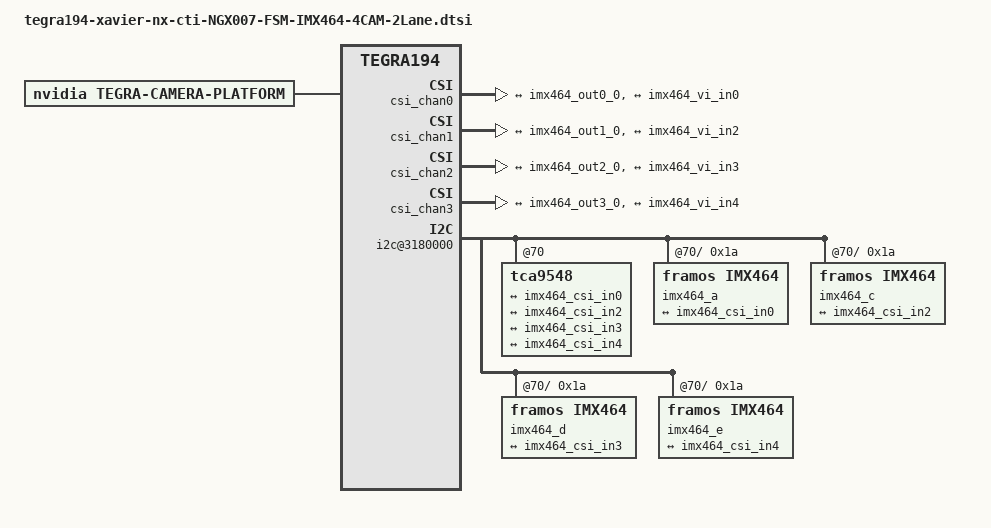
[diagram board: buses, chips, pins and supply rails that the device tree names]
/*
 * tegra194-camera-imx464.dtsi - imx464 sensor device tree
 *
 * Copyright (c) 2019. FRAMOS.  All rights reserved.
 *
 * This program is free software; you can redistribute it and/or modify it
 * under the terms and conditions of the GNU General Public License,
 * version 2, as published by the Free Software Foundation.
 *
 * This program is distributed in the hope it will be useful, but WITHOUT
 * ANY WARRANTY; without even the implied warranty of MERCHANTABILITY or
 * FITNESS FOR A PARTICULAR PURPOSE.  See the GNU General Public License for
 * more details.
 *
 * You should have received a copy of the GNU General Public License
 * along with this program.  If not, see <http://www.gnu.org/licenses/>.
 */

#include <dt-bindings/media/camera.h>

/ {
	host1x {
		vi@15c10000  {
			num-channels = <4>;
			framos_channel;
			ports {
				#address-cells = <1>;
				#size-cells = <0>;
				vi_port0: port@0 {
					reg = <0>;
                    status = "okay";
					imx464_vi_in0: endpoint {
						port-index = <0>;
						bus-width = <2>;
						remote-endpoint = <&imx464_csi_out0>;
                        status = "okay";
					};
				};
				vi_port1: port@1 {
					reg = <1>;
                    status = "okay";
                    imx464_vi_in2: endpoint {
						port-index = <2>;
						bus-width = <2>;
						remote-endpoint = <&imx464_csi_out2>;
                        status = "okay";
					};
				};
                 vi_port2: port@2 {
					reg = <2>;
                    status = "okay";
                    imx464_vi_in3: endpoint {
						port-index = <3>;
						bus-width = <2>;
						remote-endpoint = <&imx464_csi_out3>;
                        status = "okay";
					};
				};
				vi_port3: port@3 {
					reg = <3>;
                    status = "okay";
					imx464_vi_in4: endpoint {
						port-index = <4>;
						bus-width = <2>;
						remote-endpoint = <&imx464_csi_out4>;
                        status = "okay";
					};
				};
			};
		};

		nvcsi@15a00000 {
			num-channels = <4>;
			#address-cells = <1>;
			#size-cells = <0>;
			csi_chan0: channel@0 {
				reg = <0>;
                status = "okay";
				ports {
					#address-cells = <1>;
					#size-cells = <0>;
					csi_chan0_port0: port@0 {
						reg = <0>;
                        status = "okay";
						imx464_csi_in0: endpoint@0 {
							port-index = <0>;
							bus-width = <2>;
							remote-endpoint = <&imx464_out0_0>;
                            status = "okay";
						};
					};
					csi_chan0_port1: port@1 {
						reg = <1>;
                        status = "okay";
						imx464_csi_out0: endpoint@1 {
							remote-endpoint = <&imx464_vi_in0>;
                            status = "okay";
						};
					};
				};
			};
            csi_chan1: channel@1 {
				reg = <1>;
                status = "okay";
				ports {
					#address-cells = <1>;
					#size-cells = <0>;
                    csi_chan1_port0: port@2 {
						reg = <0>;
                        status = "okay";
						imx464_csi_in2: endpoint@2 {
							port-index = <2>;
							bus-width = <2>;
							remote-endpoint = <&imx464_out1_0>;
                            status = "okay";
						};
					};
					csi_chan1_port1: port@3 {
						reg = <1>;
                        status = "okay";
						imx464_csi_out2: endpoint@3 {
							remote-endpoint = <&imx464_vi_in2>;
                            status = "okay";
						};
					};
				};
			};
            csi_chan2: channel@2 {
				reg = <2>;
                status = "okay";
				ports {
					#address-cells = <1>;
					#size-cells = <0>;
                    csi_chan2_port0: port@4 {
						reg = <0>;
                        status = "okay";
						imx464_csi_in3: endpoint@4 {
							port-index = <3>;
							bus-width = <2>;
							remote-endpoint = <&imx464_out2_0>;
                            status = "okay";
						};
					};
					csi_chan2_port1: port@5 {
						reg = <1>;
                        status = "okay";
						imx464_csi_out3: endpoint@5 {
							remote-endpoint = <&imx464_vi_in3>;
                            status = "okay";
						};
					};
				};
			};
			csi_chan3: channel@3 {
				reg = <3>;
                status = "okay";
				ports {
					#address-cells = <1>;
					#size-cells = <0>;
					csi_chan3_port0: port@6 {
						reg = <0>;
                        status = "okay";
						imx464_csi_in4: endpoint@6 {
							port-index = <4>;
							bus-width = <2>;
							remote-endpoint = <&imx464_out3_0>;
                            status = "okay";
						};
					};
					csi_chan3_port1: port@7 {
						reg = <1>;
                        status = "okay";
						imx464_csi_out4: endpoint@7 {
							remote-endpoint = <&imx464_vi_in4>;
                            status = "okay";
						};
					};
				};
			};
		};
    };


    i2c@3180000 {
    	tca9548@70 {
		    i2c@0 {
			    imx464_a@1a {
				    compatible = "framos,imx464";
				    reg = <0x1a>;

				    devnode = "video0";

		            physical_w = "15.0";
		            physical_h = "12.5";

				    sensor_model ="imx464";

				    /* Define any required hw resources needed by driver */
			        /* ie. clocks, io pins, power sources */

			        /* Defines number of frames to be dropped by driver internally after applying */
			        /* sensor crop settings. Some sensors send corrupt frames after applying */
			        /* crop co-ordinates */
			        post_crop_frame_drop = "0";

	                /* Convert Gain to unit of dB (decibel) befor passing to kernel driver */
	                use_decibel_gain = "true";

	                /* if true, delay gain setting by one frame to be in sync with exposure */
	                delayed_gain = "false";

	                /* enable CID_SENSOR_MODE_ID for sensor modes selection */
	                use_sensor_mode_id = "false";

			        /**
			        * ==== Modes ====
			        * A modeX node is required to support v4l2 driver
			        * implementation with NVIDIA camera software stack
			        *
			        * == Signal properties ==
			        *
			        * phy_mode = "";
			        * PHY mode used by the MIPI lanes for this device
			        *
			        * tegra_sinterface = "";
			        * CSI Serial interface connected to tegra
			        * Incase of virtual HW devices, use virtual
			        * For SW emulated devices, use host
			        *
			        * pix_clk_hz = "";
			        * Sensor pixel clock used for calculations like exposure and framerate
			        *
			        * readout_orientation = "0";
			        * Based on camera module orientation.
			        * Only change readout_orientation if you specifically
			        * Program a different readout order for this mode
			        *
			        * == Image format Properties ==
			        *
			        * active_w = "";
			        * Pixel active region width
			        *
			        * active_h = "";
			        * Pixel active region height
			        *
			        * pixel_t = "";
			        * The sensor readout pixel pattern
			        *
			        * line_length = "";
			        * Pixel line length (width) for sensor mode.
			        *
			        * == Source Control Settings ==
			        *
			        * Gain factor used to convert fixed point integer to float
			        * Gain range [min_gain/gain_factor, max_gain/gain_factor]
			        * Gain step [step_gain/gain_factor is the smallest step that can be configured]
			        * Default gain [Default gain to be initialized for the control.
			        *     use min_gain_val as default for optimal results]
			        * Framerate factor used to convert fixed point integer to float
			        * Framerate range [min_framerate/framerate_factor, max_framerate/framerate_factor]
			        * Framerate step [step_framerate/framerate_factor is the smallest step that can be configured]
			        * Default Framerate [Default framerate to be initialized for the control.
			        *     use max_framerate to get required performance]
			        * Exposure factor used to convert fixed point integer to float
			        * For convenience use 1 sec = 1000000us as conversion factor
			        * Exposure range [min_exp_time/exposure_factor, max_exp_time/exposure_factor]
			        * Exposure step [step_exp_time/exposure_factor is the smallest step that can be configured]
			        * Default Exposure Time [Default exposure to be initialized for the control.
			        *     Set default exposure based on the default_framerate for optimal exposure settings]
			        *
			        * gain_factor = ""; (integer factor used for floating to fixed point conversion)
			        * min_gain_val = ""; (ceil to integer)
			        * max_gain_val = ""; (ceil to integer)
			        * step_gain_val = ""; (ceil to integer)
			        * default_gain = ""; (ceil to integer)
			        * Gain limits for mode
			        *
			        * exposure_factor = ""; (integer factor used for floating to fixed point conversion)
			        * min_exp_time = ""; (ceil to integer)
			        * max_exp_time = ""; (ceil to integer)
			        * step_exp_time = ""; (ceil to integer)
			        * default_exp_time = ""; (ceil to integer)
			        * Exposure Time limits for mode (sec)
			        *
			        * framerate_factor = ""; (integer factor used for floating to fixed point conversion)
			        * min_framerate = ""; (ceil to integer)
			        * max_framerate = ""; (ceil to integer)
			        * step_framerate = ""; (ceil to integer)
			        * default_framerate = ""; (ceil to integer)
			        * Framerate limits for mode (fps)
			        *
			        * embedded_metadata_height = "";
			        * Sensor embedded metadata height in units of rows.
			        * If sensor does not support embedded metadata value should be 0.
			        */

				    mode0 { //
						mclk_khz = "37125";
						num_lanes = "2";
						tegra_sinterface = "serial_a";
                        phy_mode = "DPHY";
						discontinuous_clk = "no";
                        dpcm_enable = "false";
						cil_settletime = "0";
						active_w = "2712";
						active_h = "1538";

						dynamic_pixel_bit_depth = "10";
						csi_pixel_bit_depth = "10";
						mode_type = "bayer";
						pixel_phase = "rggb";

						readout_orientation = "0";
						line_length = "2800"; // doesnt effect FPS
						inherent_gain = "1";
						mclk_multiplier = "40.40";
						pix_clk_hz = "1000000000"; // doesnt effect FPS

					    gain_factor = "10";
					    min_gain_val = "0"; /* 0dB */
					    max_gain_val = "720"; /* 72dB */
					    step_gain_val = "3"; /* 0.3 */
					    default_gain = "0";
						min_hdr_ratio = "1";
						max_hdr_ratio = "64";
					    framerate_factor = "1000000";
					    min_framerate = "1500000"; /* 1.5 */
					    max_framerate = "90000000"; /* 90 */
					    step_framerate = "1";
					    default_framerate= "90000000";
					    exposure_factor = "1000000";
					    min_exp_time = "6"; /* us */
					    max_exp_time = "660000"; /* us */ //set on max, ganges are dynamic
					    step_exp_time = "1";
					    default_exp_time = "10000";/* us */
					    embedded_metadata_height = "1";
					};
					mode1 { //
						mclk_khz = "37125";
						num_lanes = "2";
						tegra_sinterface = "serial_a";
                        phy_mode = "DPHY";
						discontinuous_clk = "no";
                        dpcm_enable = "false";
						cil_settletime = "0";
						active_w = "1920";
						active_h = "1080";

						dynamic_pixel_bit_depth = "10";
						csi_pixel_bit_depth = "10";
						mode_type = "bayer";
						pixel_phase = "rggb";

						readout_orientation = "0";
						line_length = "2800";
						inherent_gain = "1";
						mclk_multiplier = "40.40";
						pix_clk_hz = "1000000000";

					    gain_factor = "10";
					    min_gain_val = "0"; /* 0dB */
					    max_gain_val = "720"; /* 72dB */
					    step_gain_val = "3"; /* 0.3 */
					    default_gain = "0";
						min_hdr_ratio = "1";
						max_hdr_ratio = "64";
					    framerate_factor = "1000000";
					    min_framerate = "1500000"; /* 1.5 */
					    max_framerate = "124000000"; /* 124 */
					    step_framerate = "1";
					    default_framerate= "120000000";
					    exposure_factor = "1000000";
					    min_exp_time = "6"; /* us */
					    max_exp_time = "660000"; /* us */
					    step_exp_time = "1";
					    default_exp_time = "10000";/* us */
					    embedded_metadata_height = "1";
					};
					mode2 { //
						mclk_khz = "37125";
						num_lanes = "2";
						tegra_sinterface = "serial_a";
                        phy_mode = "DPHY";
						discontinuous_clk = "no";
                        dpcm_enable = "false";
						cil_settletime = "0";
						active_w = "2712";
						active_h = "1538";

						dynamic_pixel_bit_depth = "12";
						csi_pixel_bit_depth = "12";
						mode_type = "bayer";
						pixel_phase = "rggb";

						readout_orientation = "0";
						line_length = "2800";
						inherent_gain = "1";
						mclk_multiplier = "40.40";
						pix_clk_hz = "1000000000";

					    gain_factor = "10";
					    min_gain_val = "0"; /* 0dB */
					    max_gain_val = "720"; /* 72dB */
					    step_gain_val = "3"; /* 0.3 */
					    default_gain = "0";
						min_hdr_ratio = "1";
						max_hdr_ratio = "64";
					    framerate_factor = "1000000";
					    min_framerate = "1500000"; /* 1.5 */
					    max_framerate = "60000000"; /* 60 */
					    step_framerate = "1";
					    default_framerate = "60000000";
					    exposure_factor = "1000000";
					    min_exp_time = "10"; /* us */
					    max_exp_time = "660000"; /* us */
					    step_exp_time = "1";
					    default_exp_time = "10000";/* us */
					    embedded_metadata_height = "1";
					};
					mode3 { //
						mclk_khz = "37125";
						num_lanes = "2";
						tegra_sinterface = "serial_a";
                        phy_mode = "DPHY";
						discontinuous_clk = "no";
                        dpcm_enable = "false";
						cil_settletime = "0";
						active_w = "1920";
						active_h = "1080";

						dynamic_pixel_bit_depth = "12";
						csi_pixel_bit_depth = "12";
						mode_type = "bayer";
						pixel_phase = "rggb";

						readout_orientation = "0";
						line_length = "2800";
						inherent_gain = "1";
						mclk_multiplier = "40.40";
						pix_clk_hz = "1000000000";

					    gain_factor = "10";
					    min_gain_val = "0"; /* 0dB */
					    max_gain_val = "720"; /* 72dB */
					    step_gain_val = "3"; /* 0.3 */
					    default_gain = "0";
						min_hdr_ratio = "1";
						max_hdr_ratio = "64";
					    framerate_factor = "1000000";
					    min_framerate = "1500000"; /* 1.5 */
					    max_framerate = "83000000"; /* 83 */
					    step_framerate = "1";
					    default_framerate= "60000000";
					    exposure_factor = "1000000";
					    min_exp_time = "10"; /* us */
					    max_exp_time = "660000"; /* us */
					    step_exp_time = "1";
					    default_exp_time = "10000";/* us */
					    embedded_metadata_height = "1";
					};

				    ports {
					    #address-cells = <1>;
					    #size-cells = <0>;

					    port@0 {
						    reg = <0>;
						    imx464_out0_0: endpoint {
							    port-index = <0>;
							    bus-width = <2>;
							    remote-endpoint = <&imx464_csi_in0>;
						    };
					    };
				    };
			    };
		    };

		    i2c@1 {
			    imx464_c@1a {
				    compatible = "framos,imx464";
				    reg = <0x1a>;

				    devnode = "video1";

		            physical_w = "15.0";
		            physical_h = "12.5";

				    sensor_model ="imx464";

				    /* Define any required hw resources needed by driver */
			        /* ie. clocks, io pins, power sources */

			        /* Defines number of frames to be dropped by driver internally after applying */
			        /* sensor crop settings. Some sensors send corrupt frames after applying */
			        /* crop co-ordinates */
			        post_crop_frame_drop = "0";

			        /* Convert Gain to unit of dB (decibel) befor passing to kernel driver */
			        use_decibel_gain = "true";

			        /* if true, delay gain setting by one frame to be in sync with exposure */
			        delayed_gain = "false";

			        /* enable CID_SENSOR_MODE_ID for sensor modes selection */
			        use_sensor_mode_id = "false";

				    mode0 { //
						mclk_khz = "37125";
						num_lanes = "2";
						tegra_sinterface = "serial_c";
                        phy_mode = "DPHY";
						discontinuous_clk = "no";
                        dpcm_enable = "false";
						cil_settletime = "0";
						active_w = "2712";
						active_h = "1538";

						dynamic_pixel_bit_depth = "10";
						csi_pixel_bit_depth = "10";
						mode_type = "bayer";
						pixel_phase = "rggb";

						readout_orientation = "0";
						line_length = "2800"; // doesnt effect FPS
						inherent_gain = "1";
						mclk_multiplier = "40.40";
						pix_clk_hz = "1000000000"; // doesnt effect FPS

					    gain_factor = "10";
					    min_gain_val = "0"; /* 0dB */
					    max_gain_val = "720"; /* 72dB */
					    step_gain_val = "3"; /* 0.3 */
					    default_gain = "0";
						min_hdr_ratio = "1";
						max_hdr_ratio = "64";
					    framerate_factor = "1000000";
					    min_framerate = "1500000"; /* 1.5 */
					    max_framerate = "30000000"; /* 30 */
					    step_framerate = "1";
					    default_framerate= "30000000";
					    exposure_factor = "1000000";
					    min_exp_time = "20"; /* us */
					    max_exp_time = "660000"; /* us */ //set on max, ganges are dynamic
					    step_exp_time = "1";
					    default_exp_time = "10000";/* us */
					    embedded_metadata_height = "1";
					};
					mode1 { //
						mclk_khz = "37125";
						num_lanes = "2";
						tegra_sinterface = "serial_c";
                        phy_mode = "DPHY";
						discontinuous_clk = "no";
                        dpcm_enable = "false";
						cil_settletime = "0";
						active_w = "1920";
						active_h = "1080";

						dynamic_pixel_bit_depth = "10";
						csi_pixel_bit_depth = "10";
						mode_type = "bayer";
						pixel_phase = "rggb";

						readout_orientation = "0";
						line_length = "2800";
						inherent_gain = "1";
						mclk_multiplier = "40.40";
						pix_clk_hz = "1000000000";

					    gain_factor = "10";
					    min_gain_val = "0"; /* 0dB */
					    max_gain_val = "720"; /* 72dB */
					    step_gain_val = "3"; /* 0.3 */
					    default_gain = "0";
						min_hdr_ratio = "1";
						max_hdr_ratio = "64";
					    framerate_factor = "1000000";
					    min_framerate = "1500000"; /* 1.5 */
					    max_framerate = "41000000"; /* 41 */
					    step_framerate = "1";
					    default_framerate= "30000000";
					    exposure_factor = "1000000";
					    min_exp_time = "20"; /* us */
					    max_exp_time = "660000"; /* us */
					    step_exp_time = "1";
					    default_exp_time = "10000";/* us */
					    embedded_metadata_height = "1";
					};
					mode2 { //
						mclk_khz = "37125";
						num_lanes = "2";
						tegra_sinterface = "serial_c";
                        phy_mode = "DPHY";
						discontinuous_clk = "no";
                        dpcm_enable = "false";
						cil_settletime = "0";
						active_w = "2712";
						active_h = "1538";

						dynamic_pixel_bit_depth = "12";
						csi_pixel_bit_depth = "12";
						mode_type = "bayer";
						pixel_phase = "rggb";

						readout_orientation = "0";
						line_length = "2800";
						inherent_gain = "1";
						mclk_multiplier = "40.40";
						pix_clk_hz = "1000000000";

					    gain_factor = "10";
					    min_gain_val = "0"; /* 0dB */
					    max_gain_val = "720"; /* 72dB */
					    step_gain_val = "3"; /* 0.3 */
					    default_gain = "0";
						min_hdr_ratio = "1";
						max_hdr_ratio = "64";
					    framerate_factor = "1000000";
					    min_framerate = "1500000"; /* 1.5 */
					    max_framerate = "30000000"; /* 30 */
					    step_framerate = "1";
					    default_framerate = "30000000";
					    exposure_factor = "1000000";
					    min_exp_time = "20"; /* us */
					    max_exp_time = "660000"; /* us */
					    step_exp_time = "1";
					    default_exp_time = "10000";/* us */
					    embedded_metadata_height = "1";
					};
					mode3 { //
						mclk_khz = "37125";
						num_lanes = "2";
						tegra_sinterface = "serial_c";
                        phy_mode = "DPHY";
						discontinuous_clk = "no";
                        dpcm_enable = "false";
						cil_settletime = "0";
						active_w = "1920";
						active_h = "1080";

						dynamic_pixel_bit_depth = "12";
						csi_pixel_bit_depth = "12";
						mode_type = "bayer";
						pixel_phase = "rggb";

						readout_orientation = "0";
						line_length = "2800";
						inherent_gain = "1";
						mclk_multiplier = "40.40";
						pix_clk_hz = "1000000000";

					    gain_factor = "10";
					    min_gain_val = "0"; /* 0dB */
					    max_gain_val = "720"; /* 72dB */
					    step_gain_val = "3"; /* 0.3 */
					    default_gain = "0";
						min_hdr_ratio = "1";
						max_hdr_ratio = "64";
					    framerate_factor = "1000000";
					    min_framerate = "1500000"; /* 1.5 */
					    max_framerate = "41000000"; /* 41 */
					    step_framerate = "1";
					    default_framerate= "30000000";
					    exposure_factor = "1000000";
					    min_exp_time = "20"; /* us */
					    max_exp_time = "660000"; /* us */
					    step_exp_time = "1";
					    default_exp_time = "10000";/* us */
					    embedded_metadata_height = "1";
					};

				    ports {
					    #address-cells = <1>;
					    #size-cells = <0>;

					    port@0 {
						    reg = <0>;
						    imx464_out1_0: endpoint {
							    port-index = <2>;
							    bus-width = <2>;
							    remote-endpoint = <&imx464_csi_in2>;
						    };
					    };
				    };
			    };
		    };

            i2c@2 {
			    imx464_d@1a {
				    compatible = "framos,imx464";
				    reg = <0x1a>;

				    devnode = "video2";

		            physical_w = "15.0";
		            physical_h = "12.5";

				    sensor_model ="imx464";

				    /* Define any required hw resources needed by driver */
			        /* ie. clocks, io pins, power sources */

			        /* Defines number of frames to be dropped by driver internally after applying */
			        /* sensor crop settings. Some sensors send corrupt frames after applying */
			        /* crop co-ordinates */
			        post_crop_frame_drop = "0";

			        /* Convert Gain to unit of dB (decibel) befor passing to kernel driver */
			        use_decibel_gain = "true";

			        /* if true, delay gain setting by one frame to be in sync with exposure */
			        delayed_gain = "false";

			        /* enable CID_SENSOR_MODE_ID for sensor modes selection */
			        use_sensor_mode_id = "false";

				    mode0 { //
						mclk_khz = "37125";
						num_lanes = "2";
						tegra_sinterface = "serial_d";
                        phy_mode = "DPHY";
						discontinuous_clk = "no";
                        dpcm_enable = "false";
						cil_settletime = "0";
						active_w = "2712";
						active_h = "1538";

						dynamic_pixel_bit_depth = "10";
						csi_pixel_bit_depth = "10";
						mode_type = "bayer";
						pixel_phase = "rggb";

						readout_orientation = "0";
						line_length = "2800"; // doesnt effect FPS
						inherent_gain = "1";
						mclk_multiplier = "40.40";
						pix_clk_hz = "1000000000"; // doesnt effect FPS

					    gain_factor = "10";
					    min_gain_val = "0"; /* 0dB */
					    max_gain_val = "720"; /* 72dB */
					    step_gain_val = "3"; /* 0.3 */
					    default_gain = "0";
						min_hdr_ratio = "1";
						max_hdr_ratio = "64";
					    framerate_factor = "1000000";
					    min_framerate = "1500000"; /* 1.5 */
					    max_framerate = "30000000"; /* 30 */
					    step_framerate = "1";
					    default_framerate= "30000000";
					    exposure_factor = "1000000";
					    min_exp_time = "20"; /* us */
					    max_exp_time = "660000"; /* us */ //set on max, ganges are dynamic
					    step_exp_time = "1";
					    default_exp_time = "10000";/* us */
					    embedded_metadata_height = "1";
					};
					mode1 { //
						mclk_khz = "37125";
						num_lanes = "2";
						tegra_sinterface = "serial_d";
                        phy_mode = "DPHY";
						discontinuous_clk = "no";
                        dpcm_enable = "false";
						cil_settletime = "0";
						active_w = "1920";
						active_h = "1080";

						dynamic_pixel_bit_depth = "10";
						csi_pixel_bit_depth = "10";
						mode_type = "bayer";
						pixel_phase = "rggb";

						readout_orientation = "0";
						line_length = "2800";
						inherent_gain = "1";
						mclk_multiplier = "40.40";
						pix_clk_hz = "1000000000";

					    gain_factor = "10";
					    min_gain_val = "0"; /* 0dB */
					    max_gain_val = "720"; /* 72dB */
					    step_gain_val = "3"; /* 0.3 */
					    default_gain = "0";
						min_hdr_ratio = "1";
						max_hdr_ratio = "64";
					    framerate_factor = "1000000";
					    min_framerate = "1500000"; /* 1.5 */
					    max_framerate = "41000000"; /* 41 */
					    step_framerate = "1";
					    default_framerate= "30000000";
					    exposure_factor = "1000000";
					    min_exp_time = "20"; /* us */
					    max_exp_time = "660000"; /* us */
					    step_exp_time = "1";
					    default_exp_time = "10000";/* us */
					    embedded_metadata_height = "1";
					};
					mode2 { //
						mclk_khz = "37125";
						num_lanes = "2";
						tegra_sinterface = "serial_d";
                        phy_mode = "DPHY";
						discontinuous_clk = "no";
                        dpcm_enable = "false";
						cil_settletime = "0";
						active_w = "2712";
						active_h = "1538";

						dynamic_pixel_bit_depth = "12";
						csi_pixel_bit_depth = "12";
						mode_type = "bayer";
						pixel_phase = "rggb";

						readout_orientation = "0";
						line_length = "2800";
						inherent_gain = "1";
						mclk_multiplier = "40.40";
						pix_clk_hz = "1000000000";

					    gain_factor = "10";
					    min_gain_val = "0"; /* 0dB */
					    max_gain_val = "720"; /* 72dB */
					    step_gain_val = "3"; /* 0.3 */
					    default_gain = "0";
						min_hdr_ratio = "1";
						max_hdr_ratio = "64";
					    framerate_factor = "1000000";
					    min_framerate = "1500000"; /* 1.5 */
					    max_framerate = "30000000"; /* 30 */
					    step_framerate = "1";
					    default_framerate = "30000000";
					    exposure_factor = "1000000";
					    min_exp_time = "20"; /* us */
					    max_exp_time = "660000"; /* us */
					    step_exp_time = "1";
					    default_exp_time = "10000";/* us */
					    embedded_metadata_height = "1";
					};
					mode3 { //
						mclk_khz = "37125";
						num_lanes = "2";
						tegra_sinterface = "serial_d";
                        phy_mode = "DPHY";
						discontinuous_clk = "no";
                        dpcm_enable = "false";
						cil_settletime = "0";
						active_w = "1920";
						active_h = "1080";

						dynamic_pixel_bit_depth = "12";
						csi_pixel_bit_depth = "12";
						mode_type = "bayer";
						pixel_phase = "rggb";

						readout_orientation = "0";
						line_length = "2800";
						inherent_gain = "1";
						mclk_multiplier = "40.40";
						pix_clk_hz = "1000000000";

					    gain_factor = "10";
					    min_gain_val = "0"; /* 0dB */
					    max_gain_val = "720"; /* 72dB */
					    step_gain_val = "3"; /* 0.3 */
					    default_gain = "0";
						min_hdr_ratio = "1";
						max_hdr_ratio = "64";
					    framerate_factor = "1000000";
					    min_framerate = "1500000"; /* 1.5 */
					    max_framerate = "41000000"; /* 41 */
					    step_framerate = "1";
					    default_framerate= "30000000";
					    exposure_factor = "1000000";
					    min_exp_time = "20"; /* us */
					    max_exp_time = "660000"; /* us */
					    step_exp_time = "1";
					    default_exp_time = "10000";/* us */
					    embedded_metadata_height = "1";
					};

				    ports {
					    #address-cells = <1>;
					    #size-cells = <0>;

					    port@0 {
						    reg = <0>;
						    imx464_out2_0: endpoint {
							    port-index = <3>;
							    bus-width = <2>;
							    remote-endpoint = <&imx464_csi_in3>;
						    };
					    };
				    };
			    };
		    };

            i2c@3 {
			    imx464_e@1a {
				    compatible = "framos,imx464";
				    reg = <0x1a>;

				    devnode = "video3";

		            physical_w = "15.0";
		            physical_h = "12.5";

				    sensor_model ="imx464";

				    /* Define any required hw resources needed by driver */
			        /* ie. clocks, io pins, power sources */

			        /* Defines number of frames to be dropped by driver internally after applying */
			        /* sensor crop settings. Some sensors send corrupt frames after applying */
			        /* crop co-ordinates */
			        post_crop_frame_drop = "0";

	                /* Convert Gain to unit of dB (decibel) befor passing to kernel driver */
	                use_decibel_gain = "true";

	                /* if true, delay gain setting by one frame to be in sync with exposure */
	                delayed_gain = "false";

	                /* enable CID_SENSOR_MODE_ID for sensor modes selection */
	                use_sensor_mode_id = "false";

				    mode0 { //
						mclk_khz = "37125";
						num_lanes = "2";
						tegra_sinterface = "serial_e";
                        phy_mode = "DPHY";
						discontinuous_clk = "no";
                        dpcm_enable = "false";
						cil_settletime = "0";
						active_w = "2712";
						active_h = "1538";

						dynamic_pixel_bit_depth = "10";
						csi_pixel_bit_depth = "10";
						mode_type = "bayer";
						pixel_phase = "rggb";

						readout_orientation = "0";
						line_length = "2800"; // doesnt effect FPS
						inherent_gain = "1";
						mclk_multiplier = "40.40";
						pix_clk_hz = "1000000000"; // doesnt effect FPS

					    gain_factor = "10";
					    min_gain_val = "0"; /* 0dB */
					    max_gain_val = "720"; /* 72dB */
					    step_gain_val = "3"; /* 0.3 */
					    default_gain = "0";
						min_hdr_ratio = "1";
						max_hdr_ratio = "64";
					    framerate_factor = "1000000";
					    min_framerate = "1500000"; /* 1.5 */
					    max_framerate = "90000000"; /* 90 */
					    step_framerate = "1";
					    default_framerate= "90000000";
					    exposure_factor = "1000000";
					    min_exp_time = "6"; /* us */
					    max_exp_time = "660000"; /* us */ //set on max, ganges are dynamic
					    step_exp_time = "1";
					    default_exp_time = "10000";/* us */
					    embedded_metadata_height = "1";
					};
					mode1 { //
						mclk_khz = "37125";
						num_lanes = "2";
						tegra_sinterface = "serial_e";
                        phy_mode = "DPHY";
						discontinuous_clk = "no";
                        dpcm_enable = "false";
						cil_settletime = "0";
						active_w = "1920";
						active_h = "1080";

						dynamic_pixel_bit_depth = "10";
						csi_pixel_bit_depth = "10";
						mode_type = "bayer";
						pixel_phase = "rggb";

						readout_orientation = "0";
						line_length = "2800";
						inherent_gain = "1";
						mclk_multiplier = "40.40";
						pix_clk_hz = "1000000000";

					    gain_factor = "10";
					    min_gain_val = "0"; /* 0dB */
					    max_gain_val = "720"; /* 72dB */
					    step_gain_val = "3"; /* 0.3 */
					    default_gain = "0";
						min_hdr_ratio = "1";
						max_hdr_ratio = "64";
					    framerate_factor = "1000000";
					    min_framerate = "1500000"; /* 1.5 */
					    max_framerate = "124000000"; /* 124 */
					    step_framerate = "1";
					    default_framerate= "120000000";
					    exposure_factor = "1000000";
					    min_exp_time = "6"; /* us */
					    max_exp_time = "660000"; /* us */
					    step_exp_time = "1";
					    default_exp_time = "10000";/* us */
					    embedded_metadata_height = "1";
					};
					mode2 { //
						mclk_khz = "37125";
						num_lanes = "2";
						tegra_sinterface = "serial_e";
                        phy_mode = "DPHY";
						discontinuous_clk = "no";
                        dpcm_enable = "false";
						cil_settletime = "0";
						active_w = "2712";
						active_h = "1538";

						dynamic_pixel_bit_depth = "12";
						csi_pixel_bit_depth = "12";
						mode_type = "bayer";
						pixel_phase = "rggb";

						readout_orientation = "0";
						line_length = "2800";
						inherent_gain = "1";
						mclk_multiplier = "40.40";
						pix_clk_hz = "1000000000";

					    gain_factor = "10";
					    min_gain_val = "0"; /* 0dB */
					    max_gain_val = "720"; /* 72dB */
					    step_gain_val = "3"; /* 0.3 */
					    default_gain = "0";
						min_hdr_ratio = "1";
						max_hdr_ratio = "64";
					    framerate_factor = "1000000";
					    min_framerate = "1500000"; /* 1.5 */
					    max_framerate = "60000000"; /* 60 */
					    step_framerate = "1";
					    default_framerate = "60000000";
					    exposure_factor = "1000000";
					    min_exp_time = "10"; /* us */
					    max_exp_time = "660000"; /* us */
					    step_exp_time = "1";
					    default_exp_time = "10000";/* us */
					    embedded_metadata_height = "1";
					};
					mode3 { //
						mclk_khz = "37125";
						num_lanes = "2";
						tegra_sinterface = "serial_e";
                        phy_mode = "DPHY";
						discontinuous_clk = "no";
                        dpcm_enable = "false";
						cil_settletime = "0";
						active_w = "1920";
						active_h = "1080";

						dynamic_pixel_bit_depth = "12";
						csi_pixel_bit_depth = "12";
						mode_type = "bayer";
						pixel_phase = "rggb";

						readout_orientation = "0";
						line_length = "2800";
						inherent_gain = "1";
						mclk_multiplier = "40.40";
						pix_clk_hz = "1000000000";

					    gain_factor = "10";
					    min_gain_val = "0"; /* 0dB */
					    max_gain_val = "720"; /* 72dB */
					    step_gain_val = "3"; /* 0.3 */
					    default_gain = "0";
						min_hdr_ratio = "1";
						max_hdr_ratio = "64";
					    framerate_factor = "1000000";
					    min_framerate = "1500000"; /* 1.5 */
					    max_framerate = "83000000"; /* 83 */
					    step_framerate = "1";
					    default_framerate= "60000000";
					    exposure_factor = "1000000";
					    min_exp_time = "10"; /* us */
					    max_exp_time = "660000"; /* us */
					    step_exp_time = "1";
					    default_exp_time = "10000";/* us */
					    embedded_metadata_height = "1";
					};

                    ports {
					    #address-cells = <1>;
					    #size-cells = <0>;

					    port@0 {
						    reg = <0>;
						    imx464_out3_0: endpoint {
							    port-index = <4>;
							    bus-width = <2>;
							    remote-endpoint = <&imx464_csi_in4>;
						    };
					    };
				    };
                };
            };
        };
	};
};

/* camera control gpio definitions */
/ {
	tegra-camera-platform {
		compatible = "nvidia, tegra-camera-platform";

		/**
		* Physical settings to calculate max ISO BW
		*
		* num_csi_lanes = <>;
		* Total number of CSI lanes when all cameras are active
		*
		* max_lane_speed = <>;
		* Max lane speed in Kbit/s
		*
		* min_bits_per_pixel = <>;
		* Min bits per pixel
		*
		* vi_peak_byte_per_pixel = <>;
		* Max byte per pixel for the VI ISO case
		*
		* vi_bw_margin_pct = <>;
		* Vi bandwidth margin in percentage
		*
		* max_pixel_rate = <>;
		* Max pixel rate in Kpixel/s for the ISP ISO case
		*
		* isp_peak_byte_per_pixel = <>;
		* Max byte per pixel for the ISP ISO case
		*
		* isp_bw_margin_pct = <>;
		* Isp bandwidth margin in percentage
		*/
		num_csi_lanes = <12>;
		max_lane_speed = <1500000>;
		min_bits_per_pixel = <10>;
		vi_peak_byte_per_pixel = <2>;
		vi_bw_margin_pct = <25>;
        max_pixel_rate = <240000>;
		isp_peak_byte_per_pixel = <5>;
		isp_bw_margin_pct = <25>;

		/**
		 * The general guideline for naming badge_info contains 3 parts, and is as follows,
		 * The first part is the camera_board_id for the module; if the module is in a FFD
		 * platform, then use the platform name for this part.
		 * The second part contains the position of the module, ex. “rear” or “front”.
		 * The third part contains the last 6 characters of a part number which is found
		 * in the module's specsheet from the vender.
		 */
		modules {
			cam_module0: module0 {
				badge = "imx464_bottomleft_framos";
				position = "bottomleft";
				orientation = "1";
                status = "okay";
				cam_module0_drivernode0: drivernode0 {
                    status = "okay";
					pcl_id = "v4l2_sensor";
					devname = "imx464 30-001a";
					proc-device-tree = "/proc/device-tree/i2c@3180000/tca9548@70/i2c@0/imx464_a@1a";
				};
			};
			cam_module1: module1 {
				badge = "imx464_centerright_framos";
				position = "centerright";
				orientation = "1";
                status = "okay";
				cam_module1_drivernode0: drivernode0 {
                    status = "okay";
					pcl_id = "v4l2_sensor";
					devname = "imx464 31-001a";
					proc-device-tree = "/proc/device-tree/i2c@3180000/tca9548@70/i2c@1/imx464_c@1a";
				};
			};
            cam_module2: module2 {
				badge = "imx464_bottomright_framos";
				position = "bottomright";
				orientation = "1";
                status = "okay";
				cam_module2_drivernode0: drivernode0 {
                    status = "okay";
					pcl_id = "v4l2_sensor";
					devname = "imx464 32-001a";
					proc-device-tree = "/proc/device-tree/i2c@3180000/tca9548@70/i2c@2/imx464_d@1a";
				};
			};
            cam_module3: module3 {
				badge = "imx464_center_framos";
				position = "topright";
				orientation = "1";
                status = "okay";
				cam_module3_drivernode0: drivernode0 {
                    status = "okay";
					pcl_id = "v4l2_sensor";
					devname = "imx464 33-001a";
					proc-device-tree = "/proc/device-tree/i2c@3180000/tca9548@70/i2c@3/imx464_e@1a";
				};
			};
		};
	};
};
